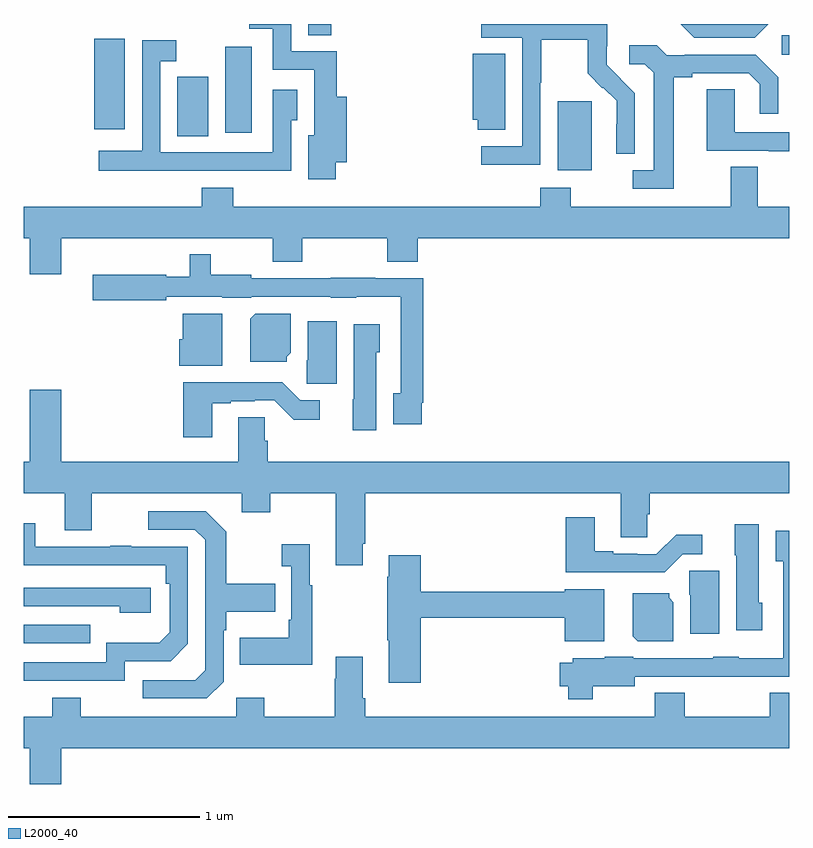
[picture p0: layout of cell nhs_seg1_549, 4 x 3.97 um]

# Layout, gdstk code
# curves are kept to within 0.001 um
import gdstk
lib = gdstk.Library(unit=1e-6, precision=1e-09)
def R(c, l, rs):  # rectangles x0, y0, x1, y1
    for r in rs: c.add(gdstk.rectangle(r[:2], r[2:], *l))
def P(c, l, *ps):  # polygons
    for p in ps: c.add(gdstk.Polygon(p, *l))
L2000_40 = (2000, 40)

nhs_seg1_549 = lib.new_cell('nhs_seg1_549')
R(nhs_seg1_549, L2000_40, [(141,534.963,141.347,535.059), (143.789,537.434,143.968,537.795), (141.803,537.613,141.964,537.924), (142.052,537.63,142.192,538.081), (141.368,537.648,141.529,538.123), (144.96,538.038,145,538.139), (142.487,538.141,142.606,538.199)])
P(nhs_seg1_549, L2000_40, [(144.89,538.199),(144.433,538.199),(144.504,538.128),(144.819,538.128)],
  [(143.7,537.892),(143.703,537.892),(143.703,538.116),(143.947,538.116),(143.947,537.941),(144.024,537.864),(144.027,537.867),(144.098,537.797),(144.098,537.674),(144.096,537.674),(144.096,537.52),(144.192,537.52),(144.192,537.838),(144.046,537.986),(144.046,538.083),(144.048,538.083),(144.048,538.199),(143.391,538.199),(143.391,538.128),(143.604,538.128),(143.604,537.561),(143.391,537.561),(143.391,537.463),(143.7,537.463)],
  [(142.631,537.476),(142.688,537.476),(142.688,537.82),(142.636,537.82),(142.636,538.056),(142.398,538.056),(142.398,538.199),(142.179,538.199),(142.179,538.173),(142.302,538.173),(142.302,537.96),(142.517,537.96),(142.517,537.619),(142.487,537.619),(142.487,537.387),(142.631,537.387)],
  [(141.811,537.432),(142.177,537.432),(142.177,537.431),(142.398,537.431),(142.398,537.697),(142.429,537.697),(142.429,537.856),(142.302,537.856),(142.302,537.528),(141.714,537.528),(141.714,538.005),(141.796,538.005),(141.796,538.114),(141.618,538.114),(141.618,537.538),(141.393,537.538),(141.393,537.431),(141.811,537.431)],
  [(144.397,537.92),(144.493,537.92),(144.493,537.942),(144.788,537.942),(144.845,537.885),(144.845,537.729),(144.942,537.729),(144.942,537.922),(144.826,538.038),(144.454,538.038),(144.454,538.035),(144.36,538.035),(144.308,538.087),(144.165,538.087),(144.165,537.99),(144.246,537.99),(144.293,537.943),(144.293,537.435),(144.183,537.435),(144.183,537.339),(144.397,537.339)],
  [(143.515,538.043),(143.345,538.043),(143.345,537.699),(143.372,537.699),(143.372,537.646),(143.515,537.646)],
  [(145,537.633),(144.714,537.633),(144.714,537.857),(144.569,537.857),(144.569,537.537),(144.893,537.537),(144.893,537.533),(145,537.533)],
  [(141.196,537.08),(142.3,537.08),(142.3,536.956),(142.455,536.956),(142.455,537.08),(142.9,537.08),(142.9,536.956),(143.06,536.956),(143.06,537.08),(145,537.08),(145,537.244),(144.835,537.244),(144.835,537.452),(144.695,537.452),(144.695,537.244),(143.859,537.244),(143.859,537.343),(143.699,537.343),(143.699,537.244),(142.094,537.244),(142.094,537.343),(141.929,537.343),(141.929,537.244),(141,537.244),(141,537.08),(141.032,537.08),(141.032,536.892),(141.196,536.892)],
  [(143.08,536.221),(143.087,536.221),(143.087,536.871),(142.837,536.871),(142.837,536.873),(142.605,536.873),(142.605,536.871),(142.188,536.871),(142.188,536.89),(141.976,536.89),(141.976,536.995),(141.867,536.995),(141.867,536.879),(141.744,536.879),(141.744,536.89),(141.36,536.89),(141.36,536.756),(141.744,536.756),(141.744,536.774),(142.038,536.774),(142.038,536.768),(142.188,536.768),(142.188,536.775),(142.605,536.775),(142.605,536.768),(142.737,536.768),(142.737,536.774),(142.971,536.774),(142.971,536.27),(142.931,536.27),(142.931,536.109),(143.08,536.109)],
  [(142.374,536.46),(142.396,536.482),(142.396,536.686),(142.21,536.686),(142.184,536.66),(142.184,536.435),(142.374,536.435)],
  [(142.036,536.684),(141.83,536.684),(141.83,536.553),(141.812,536.553),(141.812,536.414),(142.036,536.414)],
  [(142.636,536.647),(142.484,536.647),(142.484,536.442),(142.48,536.442),(142.48,536.319),(142.636,536.319)],
  [(142.843,536.484),(142.861,536.484),(142.861,536.629),(142.724,536.629),(142.724,536.238),(142.718,536.238),(142.718,536.076),(142.843,536.076)],
  [(141.985,536.217),(142.081,536.217),(142.081,536.229),(142.208,536.229),(142.208,536.232),(142.308,536.232),(142.411,536.13),(142.546,536.13),(142.546,536.232),(142.446,536.232),(142.352,536.326),(141.833,536.326),(141.833,536.04),(141.985,536.04)],
  [(142.771,535.483),(142.784,535.483),(142.784,535.748),(144.119,535.748),(144.119,535.516),(144.258,535.516),(144.258,535.638),(144.272,535.638),(144.272,535.748),(145,535.748),(145,535.912),(142.274,535.912),(142.274,536.022),(142.26,536.022),(142.26,536.144),(142.121,536.144),(142.121,535.912),(141.196,535.912),(141.196,536.287),(141.032,536.287),(141.032,535.912),(141,535.912),(141,535.748),(141.215,535.748),(141.215,535.554),(141.355,535.554),(141.355,535.748),(142.139,535.748),(142.139,535.649),(142.287,535.649),(142.287,535.748),(142.631,535.748),(142.631,535.371),(142.771,535.371)],
  [(142.044,534.762),(142.044,535.031),(142.057,535.031),(142.057,535.127),(142.313,535.127),(142.313,535.275),(142.057,535.275),(142.057,535.547),(141.951,535.653),(141.651,535.653),(141.651,535.557),(141.894,535.557),(141.948,535.503),(141.948,534.822),(141.897,534.771),(141.621,534.771),(141.621,534.675),(141.957,534.675)],
  [(144.444,535.428),(144.544,535.428),(144.544,535.531),(144.409,535.531),(144.306,535.428),(144.206,535.428),(144.206,535.431),(144.079,535.431),(144.079,535.444),(143.983,535.444),(143.983,535.621),(143.831,535.621),(143.831,535.334),(144.35,535.334)],
  [(141.528,534.87),(141.768,534.87),(141.858,534.96),(141.858,535.467),(141.563,535.467),(141.563,535.472),(141.451,535.472),(141.451,535.467),(141.061,535.467),(141.061,535.591),(141,535.591),(141,535.372),(141.742,535.371),(141.742,535.274),(141.762,535.274),(141.762,535.02),(141.709,534.967),(141.432,534.967),(141.432,534.864),(141,534.864),(141,534.768),(141.528,534.768)],
  [(144.859,535.176),(144.841,535.176),(144.841,535.585),(144.716,535.585),(144.716,535.422),(144.722,535.422),(144.722,535.032),(144.859,535.032)],
  [(143.974,534.74),(144.193,534.74),(144.193,534.789),(144.603,534.789),(144.603,534.788),(144.835,534.788),(144.835,534.789),(145,534.789),(145,535.552),(144.929,535.552),(144.929,535.391),(144.969,535.391),(144.969,534.886),(144.735,534.886),(144.735,534.892),(144.603,534.892),(144.603,534.885),(144.186,534.885),(144.186,534.892),(144.036,534.892),(144.036,534.886),(143.868,534.886),(143.868,534.862),(143.801,534.862),(143.801,534.74),(143.845,534.74),(143.845,534.671),(143.974,534.671)],
  [(142.507,535.267),(142.495,535.267),(142.495,535.48),(142.347,535.48),(142.347,535.367),(142.398,535.367),(142.398,535.087),(142.386,535.087),(142.386,534.991),(142.129,534.991),(142.129,534.851),(142.507,534.851)],
  [(143.075,535.096),(143.828,535.096),(143.828,534.974),(144.034,534.974),(144.034,535.246),(143.828,535.246),(143.828,535.232),(143.075,535.232),(143.075,535.423),(142.907,535.423),(142.907,535.31),(142.9,535.31),(142.9,534.979),(142.907,534.979),(142.907,534.756),(143.075,534.756)],
  [(144.634,535.341),(144.478,535.341),(144.478,535.218),(144.482,535.218),(144.482,535.014),(144.634,535.014)],
  [(141.664,535.254),(141,535.254),(141,535.158),(141.503,535.158),(141.503,535.124),(141.664,535.124)],
  [(144.394,535.178),(144.372,535.2),(144.372,535.225),(144.182,535.225),(144.182,535),(144.208,534.974),(144.394,534.974)],
  [(141.196,534.416),(145,534.416),(145,534.704),(144.898,534.704),(144.898,534.58),(144.453,534.58),(144.453,534.704),(144.298,534.704),(144.298,534.58),(142.784,534.58),(142.784,534.676),(142.771,534.676),(142.771,534.892),(142.631,534.892),(142.631,534.779),(142.624,534.779),(142.624,534.58),(142.257,534.58),(142.257,534.679),(142.11,534.679),(142.11,534.58),(141.297,534.58),(141.297,534.679),(141.149,534.679),(141.149,534.58),(141,534.58),(141,534.416),(141.032,534.416),(141.032,534.228),(141.196,534.228)])

lib.write_gds('nhs_seg1_549.gds')
